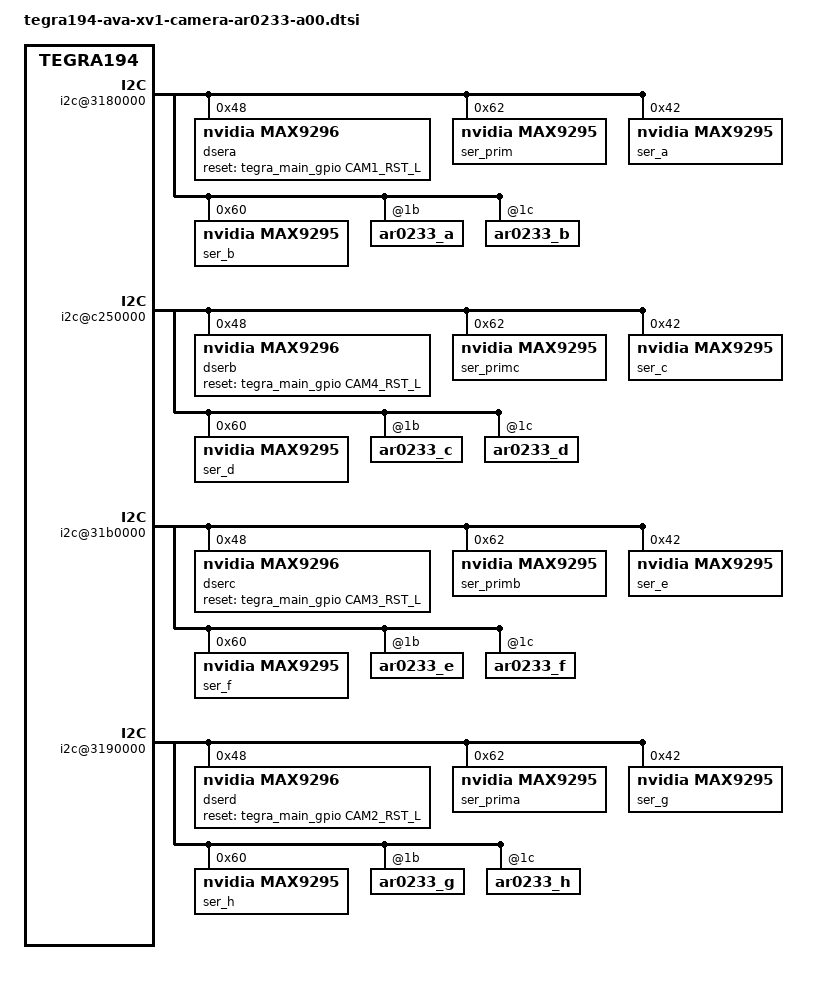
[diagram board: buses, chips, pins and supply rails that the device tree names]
/*
 * Copyright (c) 2020, NVIDIA LEOPARDIMAGE CORPORATION.  All rights reserved.
 *
 * This program is free software; you can redistribute it and/or modify
 * it under the terms of the GNU General Public License as published by
 * the Free Software Foundation; either version 2 of the License, or
 * (at your option) any later version.
 *
 * This program is distributed in the hope that it will be useful, but WITHOUT
 * ANY WARRANTY; without even the implied warranty of MERCHANTABILITY or
 * FITNESS FOR A PARTICULAR PURPOSE.  See the GNU General Public License for
 * more details.
 *
 * You should have received a copy of the GNU General Public License
 * along with this program.  If not, see <http://www.gnu.org/licenses/>.
 */
#include <t19x-common-modules/tegra194-camera-ar0233-a00.dtsi>

#define CAM1_RST_L	TEGRA194_MAIN_GPIO(S, 5)
#define CAM2_RST_L	TEGRA194_MAIN_GPIO(T, 5)
#define CAM3_RST_L	TEGRA194_MAIN_GPIO(T, 4)
#define CAM4_RST_L	TEGRA194_MAIN_GPIO(T, 3)

/* camera control gpio definitions */

/ {
	i2c@3180000 {
		dsera: max9296@48 {
			compatible = "nvidia,max9296";
			reg = <0x48>;
			csi-mode = "2x4";
			max-src = <2>;
			reset-gpios = <&tegra_main_gpio CAM1_RST_L GPIO_ACTIVE_HIGH>;
		};
		ser_prim: max9295_prim@62 {
			compatible = "nvidia,max9295";
			reg = <0x62>;
			is-prim-ser;
		};
		ser_a: max9295_a@42 {
			compatible = "nvidia,max9295";
			reg = <0x42>;
			nvidia,gmsl-dser-device = <&dsera>;
		};
		ser_b: max9295_b@60 {
			compatible = "nvidia,max9295";
			reg = <0x60>;
			nvidia,gmsl-dser-device = <&dsera>;
		};
		ar0233_a@1b {
			def-addr = <0x10>;
			/* Define any required hw resources needed by driver */
			/* ie. clocks, io pins, power sources */
			clocks = <&bpmp_clks TEGRA194_CLK_EXTPERIPH1>,
					<&bpmp_clks TEGRA194_CLK_EXTPERIPH1>;
			clock-names = "extperiph1", "pllp_grtba";
			mclk = "extperiph1";
			nvidia,gmsl-ser-device = <&ser_a>;
			nvidia,gmsl-dser-device = <&dsera>;
		};
		ar0233_b@1c {
			def-addr = <0x10>;
			/* Define any required hw resources needed by driver */
			/* ie. clocks, io pins, power sources */
			clocks = <&bpmp_clks TEGRA194_CLK_EXTPERIPH1>,
					<&bpmp_clks TEGRA194_CLK_EXTPERIPH1>;
			clock-names = "extperiph1", "pllp_grtba";
			mclk = "extperiph1";
			nvidia,gmsl-ser-device = <&ser_b>;
			nvidia,gmsl-dser-device = <&dsera>;
		};
	};

	i2c@c250000 {
		dserb: max9296@48 {
			compatible = "nvidia,max9296";
			reg = <0x48>;
			csi-mode = "2x4";
			max-src = <2>;
			reset-gpios = <&tegra_main_gpio CAM4_RST_L GPIO_ACTIVE_HIGH>;
		};
		ser_primc: max9295_prim@62 {
			compatible = "nvidia,max9295";
			reg = <0x62>;
			is-prim-ser;
		};
		ser_c: max9295_g@42 {
			compatible = "nvidia,max9295";
			reg = <0x42>;
			nvidia,gmsl-dser-device = <&dserb>;
		};
		ser_d: max9295_h@60 {
			compatible = "nvidia,max9295";
			reg = <0x60>;
			nvidia,gmsl-dser-device = <&dserb>;
		};
		ar0233_c@1b {
			def-addr = <0x10>;
			/* Define any required hw resources needed by driver */
			/* ie. clocks, io pins, power sources */
			clocks = <&bpmp_clks TEGRA194_CLK_EXTPERIPH1>,
					<&bpmp_clks TEGRA194_CLK_EXTPERIPH1>;
			clock-names = "extperiph1", "pllp_grtba";
			mclk = "extperiph1";
			nvidia,gmsl-ser-device = <&ser_c>;
			nvidia,gmsl-dser-device = <&dserb>;
		};
		ar0233_d@1c {
			def-addr = <0x10>;
			/* Define any required hw resources needed by driver */
			/* ie. clocks, io pins, power sources */
			clocks = <&bpmp_clks TEGRA194_CLK_EXTPERIPH1>,
					<&bpmp_clks TEGRA194_CLK_EXTPERIPH1>;
			clock-names = "extperiph1", "pllp_grtba";
			mclk = "extperiph1";
			nvidia,gmsl-ser-device = <&ser_d>;
			nvidia,gmsl-dser-device = <&dserb>;
		};	
	};

	i2c@31b0000 {
		dserc: max9296@48 {
			compatible = "nvidia,max9296";
			reg = <0x48>;
			csi-mode = "2x4";
			max-src = <2>;
			reset-gpios = <&tegra_main_gpio CAM3_RST_L GPIO_ACTIVE_HIGH>;
		};
		ser_primb: max9295_prim@62 {
			compatible = "nvidia,max9295";
			reg = <0x62>;
			is-prim-ser;
		};
		ser_e: max9295_e@42 {
			compatible = "nvidia,max9295";
			reg = <0x42>;
			nvidia,gmsl-dser-device = <&dserc>;
		};
		ser_f: max9295_f@60 {
			compatible = "nvidia,max9295";
			reg = <0x60>;
			nvidia,gmsl-dser-device = <&dserc>;
		};
		ar0233_e@1b {
			def-addr = <0x10>;
			/* Define any required hw resources needed by driver */
			/* ie. clocks, io pins, power sources */
			clocks = <&bpmp_clks TEGRA194_CLK_EXTPERIPH1>,
					<&bpmp_clks TEGRA194_CLK_EXTPERIPH1>;
			clock-names = "extperiph1", "pllp_grtba";
			mclk = "extperiph1";
			nvidia,gmsl-ser-device = <&ser_e>;
			nvidia,gmsl-dser-device = <&dserc>;
		};
		ar0233_f@1c {
			def-addr = <0x10>;
			/* Define any required hw resources needed by driver */
			/* ie. clocks, io pins, power sources */
			clocks = <&bpmp_clks TEGRA194_CLK_EXTPERIPH1>,
					<&bpmp_clks TEGRA194_CLK_EXTPERIPH1>;
			clock-names = "extperiph1", "pllp_grtba";
			mclk = "extperiph1";
			nvidia,gmsl-ser-device = <&ser_f>;
			nvidia,gmsl-dser-device = <&dserc>;
		};	
	};

	i2c@3190000 {
		dserd: max9296@48 {
			compatible = "nvidia,max9296";
			reg = <0x48>;
			csi-mode = "2x4";
			max-src = <2>;
			reset-gpios = <&tegra_main_gpio CAM2_RST_L GPIO_ACTIVE_HIGH>;
		};
		ser_prima: max9295_prim@62 {
			compatible = "nvidia,max9295";
			reg = <0x62>;
			is-prim-ser;
		};
		ser_g: max9295_g@42 {
			compatible = "nvidia,max9295";
			reg = <0x42>;
			nvidia,gmsl-dser-device = <&dserd>;
		};
		ser_h: max9295_h@60 {
			compatible = "nvidia,max9295";
			reg = <0x60>;
			nvidia,gmsl-dser-device = <&dserd>;
		};
		ar0233_g@1b {
			def-addr = <0x10>;
			/* Define any required hw resources needed by driver */
			/* ie. clocks, io pins, power sources */
			clocks = <&bpmp_clks TEGRA194_CLK_EXTPERIPH1>,
					<&bpmp_clks TEGRA194_CLK_EXTPERIPH1>;
			clock-names = "extperiph1", "pllp_grtba";
			mclk = "extperiph1";
			nvidia,gmsl-ser-device = <&ser_g>;
			nvidia,gmsl-dser-device = <&dserd>;
		};
		ar0233_h@1c {
			def-addr = <0x10>;
			/* Define any required hw resources needed by driver */
			/* ie. clocks, io pins, power sources */
			clocks = <&bpmp_clks TEGRA194_CLK_EXTPERIPH1>,
					<&bpmp_clks TEGRA194_CLK_EXTPERIPH1>;
			clock-names = "extperiph1", "pllp_grtba";
			mclk = "extperiph1";
			nvidia,gmsl-ser-device = <&ser_h>;
			nvidia,gmsl-dser-device = <&dserd>;
		};	
	};
};
